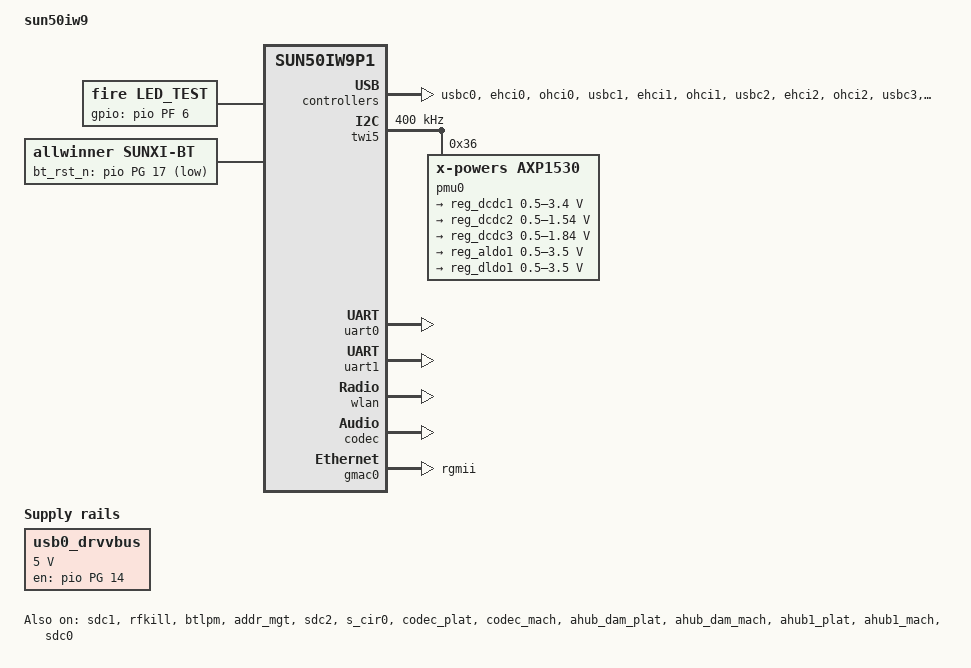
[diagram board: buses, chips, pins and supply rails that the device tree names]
// SPDX-License-Identifier: (GPL-2.0+ or MIT)
/*
 * Copyright (C) 2020 frank@allwinnertech.com
 */

/dts-v1/;
#include <dt-bindings/gpio/sun4i-gpio.h>

#include "sun50iw9.dtsi"
#include "sun50iw9-h618-pinctrl.dtsi"

/{
	model = "sun50iw9";
	compatible = "allwinner,h616", "arm,sun50iw9p1";

	aliases {
		disp = &uboot_disp;
		lcd0 = &lcd0;
		pmu0 = &pmu0;
		standby_param = &standby_param;
		hdmi = &uboot_hdmi;
		spi0 = &spi0;
		spi1 = &spi1;
		twi0 = &twi0;
		twi1 = &twi1;
		twi2 = &twi2;
		twi3 = &twi3;
		twi4 = &twi4;
		twi5 = &twi5;
	};

	usb0_drvvbus: usb0-drvvvbus {
		compatible = "regulator-fixed";
		regulator-name = "usb0-drvvbus";
		regulator-min-microvolt = <5000000>;
		regulator-max-microvolt = <5000000>;
		regulator-enable-ramp-delay = <1000>;
		gpio = <&pio PG 14 GPIO_ACTIVE_HIGH>;
		enable-active-high;
	};

	box_start_os0 {
		compatible = "allwinner,box_start_os";
		start_type = <0x1>;
		irkey_used = <0x0>;
		pmukey_used = <0x0>;
		pmukey_num = <0x0>;
		led_power = <0x0>;
		led_state = <0x0>;
		// pinctrl-0 = <&standby_blue>;
		// pinctrl-1 = <&standby_red>;
		/*pinctrl-2 = <&standby_bt>;*/
	};

	leds: leds {
		compatible = "gpio-leds";
		status = "disabled";

		led-sys {
			label = "led_sys";
			gpios =  <&pio PF 6 GPIO_ACTIVE_HIGH>;
			linux,default-trigger = "heartbeat";
		};
	};

	/*添加led_test节点*/
    led_test: led_test {
        status = "okay";
        compatible = "fire,led_test";
        default-state = "on";
        gpios = <&pio PF 6 GPIO_ACTIVE_HIGH>;
        pinctrl-names = "default";
        pinctrl-0 = <&led_test_pin>;
    };
};

&pio {
	led_test_pin: led_test_pin {
		pins = "PF6";
		function = "gpio_out";
	};
};

/*
 *usb_port_type: usb mode. 0-device, 1-host, 2-otg.
 *usb_detect_type: usb hotplug detect mode. 0-none, 1-vbus/id detect, 2-id/dpdm detect.
 *usb_detect_mode: 0-thread scan, 1-id gpio interrupt.
 *usb_id_gpio: gpio for id detect.
 *usb_det_vbus_gpio: gpio for id detect. gpio or "axp_ctrl";
 *usb_wakeup_suspend：0-SUPER_STANDBY, 1-USB_STANDBY.
 */
&usbc0 {
	device_type		= "usbc0";
	usb_port_type		= <0x2>;
	usb_detect_type		= <0x1>;
	usb_detect_mode		= <0x0>;
	usb_id_gpio = <&pio PC 2 GPIO_ACTIVE_HIGH>;
	usb_det_vbus_gpio = <&pio PC 2 GPIO_ACTIVE_HIGH>;
	usb_regulator_io	= "nocare";
	usb_wakeup_suspend	= <0x0>;
	usb_luns		= <0x3>;
	usb_serial_unique	= <0>;
	usb_serial_number	= "20080411";
	status			= "okay";
};

&ehci0 {
	drvvbus-supply		= <&usb0_drvvbus>;
	status			= "okay";
};

&ohci0 {
	drvvbus-supply		= <&usb0_drvvbus>;
	status			= "okay";
};

&usbc1 {
	device_type = "usbc1";
	usb_regulator_io = "nocare";
	usb_wakeup_suspend	= <0x0>;
	status = "okay";
};

&ehci1 {
	drvvbus-supply		= <&usb0_drvvbus>;
	status			= "okay";
};

&ohci1 {
	drvvbus-supply		= <&usb0_drvvbus>;
	status			= "okay";
};

&usbc2 {
	device_type = "usbc2";
	usb_regulator_io = "nocare";
	usb_wakeup_suspend = <0x0>;
	status = "okay";
};

&ehci2 {
	drvvbus-supply		= <&usb0_drvvbus>;
	status			= "okay";
};

&ohci2 {
	drvvbus-supply		= <&usb0_drvvbus>;
	status			= "okay";
};

&usbc3 {
	device_type = "usbc3";
	usb_regulator_io = "nocare";
	usb_wakeup_suspend = <0x0>;
	status = "okay";
};

&ehci3 {
	drvvbus-supply		= <&usb0_drvvbus>;
	status			= "okay";
};

&ohci3 {
	drvvbus-supply		= <&usb0_drvvbus>;
	status			= "okay";
};

&cpu0 {
	cpu-supply = <&reg_dcdc2>;
};

// CPU 掉电保护温度
&cpu_trips{
	cpu_crit: cpu_crit@0 {
		temperature = <115000>;
		type = "critical";
		hysteresis = <0>;
	};
};

/* for disp */
&soc {
	card0_boot_para@2 {
		/* Avoid dtc compiling warnings. */
		reg = <0x0 0x2 0x0 0x0>;
		device_type = "card0_boot_para";
		card_ctrl = <0x0>;
		card_high_speed = <0x1>;
		card_line = <0x4>;
		pinctrl-0 = <&sdc0_pins_a>;
		sdc_type = "tm1";
	};

	card2_boot_para@3 {
		/* Avoid dtc compiling warnings. */
		reg = <0x0 0x3 0x0 0x0>;
		device_type = "card2_boot_para";
		card_ctrl = <0x2>;
		card_high_speed = <0x1>;
		card_line = <0x8>;
		pinctrl-0 = <&sdc2_pins_a &sdc2_pins_c>;
		sdc_ex_dly_used = <0x2>;
		sdc_io_1v8 = <0x1>;
		sdc_type = "tm4";
	};

	clk_pll_video2: pll_video2 {
		#clock-cells = <0>;
		compatible = "allwinner,pll-clock";
		lock-mode = "new";
		assigned-clocks = <&clk_pll_video2>;
		/*assigned-clock-rates = <432000000>;*/
		clock-output-names = "pll_video2";
	};

	clk_pll_de: pll_de {
		#clock-cells = <0>;
		compatible = "allwinner,pll-clock";
		assigned-clocks = <&clk_pll_de>;
		assigned-clock-rates = <696000000>;
		lock-mode = "new";
		clock-output-names = "pll_de";
	};

	clk_de: de {
		#clock-cells = <0>;
		compatible = "allwinner,periph-clock";
		assigned-clock-parents = <&clk_pll_de>;
		assigned-clock-rates = <696000000>;
		assigned-clocks = <&clk_de>;
		clock-output-names = "de";
	};

	clk_display_top: display_top {
		#clock-cells = <0>;
		compatible = "allwinner,periph-clock";
		clock-output-names = "display_top";
	};

	clk_tcon_lcd: tcon_lcd {
		#clock-cells = <0>;
		compatible = "allwinner,periph-clock";
		clock-output-names = "tcon_lcd";
	};

	clk_tcon_lcd1: tcon_lcd1 {
		#clock-cells = <0>;
		compatible = "allwinner,periph-clock";
		clock-output-names = "tcon_lcd1";
	};
	clk_tcon_tv: tcon_tv {
		#clock-cells = <0>;
		compatible = "allwinner,periph-clock";
		assigned-clock-parents = <&clk_pll_video2>;
		assigned-clocks = <&clk_tcon_tv>;
		clock-output-names = "tcon_tv";
	};
	clk_tcon_tv1: tcon_tv1 {
		#clock-cells = <0>;
		compatible = "allwinner,periph-clock";
		clock-output-names = "tcon_tv1";
	};
	clk_lvds: lvds {
		#clock-cells = <0>;
		compatible = "allwinner,periph-clock";
		clock-output-names = "lvds";
		assigned-clocks = <&clk_lvds>;
	};
	clk_hdmi: hdmi {
		#clock-cells = <0>;
		compatible = "allwinner,periph-clock";
		assigned-clock-parents = <&clk_pll_video2>;
		assigned-clocks = <&clk_hdmi>;
		clock-output-names = "hdmi";
	};
	clk_hdmi_slow: hdmi_slow {
		#clock-cells = <0>;
		compatible = "allwinner,periph-clock";
		assigned-clocks = <&clk_hdmi_slow>;
		clock-output-names = "hdmi_slow";
	};
	clk_hdmi_cec: hdmi_cec {
		#clock-cells = <0>;
		compatible = "allwinner,periph-clock";
		assigned-clocks = <&clk_hdmi_cec>;
		clock-output-names = "hdmi_cec";
	};
	clk_hdmi_hdcp: hdmi_hdcp {
		#clock-cells = <0>;
		compatible = "allwinner,periph-clock";
		assigned-clock-parents = <&clk_pll_periph1>;
		assigned-clocks = <&clk_hdmi_hdcp>;
		clock-output-names = "hdmi_hdcp";
	};
	clk_pll_periph1: pll_periph1 {
		#clock-cells = <0>;
		compatible = "allwinner,pll-clock";
		assigned-clocks = <&clk_pll_periph1>;
		assigned-clock-rates = <600000000>;
		lock-mode = "new";
		clock-output-names = "pll_periph1";
	};

	auto_print@54321 {
		reg = <0x0 0x54321 0x0 0x0>;
		device_type = "auto_print";
		status = "disabled";
	};

	gpio_para {
		gpio_num = <0>;
		status = "okay";
	};
};

// PMIC TWI5
&twi5 {
	clock-frequency = <400000>;
	pinctrl-0 = <&s_twi0_pins_a>;
	pinctrl-1 = <&s_twi0_pins_b>;
	pinctrl-names = "default", "sleep";
	device_type = "twi5";
	no_suspend = <1>;
	twi_drv_used = <0>;
	status = "okay";

	pmu0: pmu{
		compatible = "x-powers,axp1530";
		reg = <0x36>;
		/* irq line nc */
		wakeup-source;

		standby_param: standby_param {
			vcc-dram = <0x4>;
		};

		regulators{
			reg_dcdc1: dcdc1 {
				regulator-name = "axp1530-dcdc1";
				regulator-min-microvolt = <500000>;
				regulator-max-microvolt = <3400000>;
				regulator-step-delay-us = <25>;
				regulator-final-delay-us = <50>;
				regulator-always-on;
			};

			reg_dcdc2: dcdc2 {
				regulator-name = "axp1530-dcdc2";
				regulator-min-microvolt = <500000>;
				regulator-max-microvolt = <1540000>;
				regulator-step-delay-us = <25>;
				regulator-final-delay-us = <50>;
				regulator-ramp-delay = <200>; /* FIXME */
				regulator-always-on;
			};

			reg_dcdc3: dcdc3 {
				regulator-name = "axp1530-dcdc3";
				regulator-min-microvolt = <500000>;
				regulator-max-microvolt = <1840000>;
				regulator-step-delay-us = <25>;
				regulator-final-delay-us = <50>;
				regulator-always-on;
			};

			reg_aldo1: ldo1 {
				regulator-name = "axp1530-aldo1";
				regulator-min-microvolt = <500000>;
				regulator-max-microvolt = <3500000>;
				regulator-step-delay-us = <25>;
				regulator-final-delay-us = <50>;
				regulator-always-on;
			};

			reg_dldo1: ldo2 {
				regulator-name = "axp1530-dldo1";
				regulator-min-microvolt = <500000>;
				regulator-max-microvolt = <3500000>;
				regulator-step-delay-us = <25>;
				regulator-final-delay-us = <50>;
				regulator-always-on;
			};
		};
	};
};

// DEBUG UART0
&uart0 {
	pinctrl-names = "default", "sleep";
	pinctrl-0 = <&uart0_ph_pins>;
	pinctrl-1 = <&uart0_ph_sleep>;
	status = "okay";
};

// WIFI
&sdc1 {
	max-frequency = <150000000>;
	pinctrl-0 = <&sdc1_pins_a>;
	bus-width = <4>;
	no-mmc;
	no-sd;
	cap-sd-highspeed;
	sd-uhs-sdr12;
	sd-uhs-sdr25;
	sd-uhs-sdr50;
	sd-uhs-ddr50;
	sd-uhs-sdr104;
	/*sunxi-power-save-mode;*/
	sunxi-dis-signal-vol-sw;
	cap-sdio-irq;
	keep-power-in-suspend;
	ignore-pm-notify;
	ctl-spec-caps = <0x8>;
	vmmc-supply = <&reg_dldo1>;
	vqmmc-supply = <&reg_aldo1>;
	status = "okay";
};

// BT UART1
&uart1 {
	pinctrl-names = "default", "sleep";
	pinctrl-0 = <&uart1_ph_pins>;
	pinctrl-1 = <&uart1_ph_sleep>;
	device_type = "uart1";
	status = "okay";
};

&rfkill {
	compatible = "allwinner,sunxi-rfkill";
	chip_en;
	power_en;
	pinctrl-0;
	pinctrl-names;
	clocks;
	status = "okay";

	wlan: wlan {
		compatible = "allwinner,sunxi-wlan";
		wlan_busnum = <0x1>;
		wlan_power;
		wlan_regon = <&pio PG 18 GPIO_ACTIVE_HIGH>;
		wlan_hostwake = <&pio PG 11 GPIO_ACTIVE_HIGH>;
		wakeup-source;
	};

	bt: bt {
		compatible = "allwinner,sunxi-bt";
		bt_power;
		bt_rst_n = <&pio PG 17 GPIO_ACTIVE_LOW>;
	};
};

&btlpm {
	compatible = "allwinner,sunxi-btlpm";
	uart_index = <0x1>;
	bt_wake = <&pio PG 12 GPIO_ACTIVE_HIGH>;
	bt_hostwake = <&pio PG 13 GPIO_ACTIVE_HIGH>;
	status = "okay";
	wakeup-source;
};

&addr_mgt {
	compatible = "allwinner,sunxi-addr_mgt";
	type_addr_wifi = <0x0>;
	type_addr_bt = <0x0>;
	type_addr_eth = <0x0>;
	status = "okay";
};

// HDMI OUTPUT
&hdmi {
	hdmi_used = <1>;
	aldo1-supply = <&reg_aldo1>;
	dcdc1-supply = <&reg_dcdc1>;
	hdmi_power_cnt = <2>;
	hdmi_power0 = "axp1530-aldo1";
	hdmi_power1 = "axp1530-dcdc1";
	hdmi_hdcp_enable = <1>;
	hdmi_hdcp22_enable = <1>;
	hdmi_cts_compatibility = <0>;
	hdmi_cec_support = <1>;
	hdmi_cec_super_standby = <0>;

	ddc_en_io_ctrl = <0>;
	power_io_ctrl = <0>;
};

// Display Engine
&disp {
	disp_init_enable         = <1>;
	disp_mode                = <0>;

	screen0_output_type      = <3>;
	screen0_output_mode      = <10>;
	screen0_output_format    = <0>;
	screen0_output_bits      = <0>;
	screen0_output_eotf      = <4>;
	screen0_output_cs        = <257>;
	screen0_output_dvi_hdmi  = <2>;
	screen0_output_range     = <2>;
	screen0_output_scan      = <0>;
	screen0_output_aspect_ratio = <8>;

	screen1_output_type      = <2>;
	screen1_output_mode      = <11>;
	screen1_output_format    = <1>;
	screen1_output_bits      = <0>;
	screen1_output_eotf      = <4>;
	screen1_output_cs        = <260>;
	screen1_output_dvi_hdmi  = <0>;
	screen1_output_range     = <2>;
	screen1_output_scan      = <0>;
	screen1_output_aspect_ratio = <8>;
	dev0_output_type         = <4>;
	dev0_output_mode         = <10>;
	dev0_screen_id           = <0>;
	dev0_do_hpd              = <1>;

	dev1_output_type         = <2>;
	dev1_output_mode         = <11>;
	dev1_screen_id           = <1>;
	dev1_do_hpd              = <1>;

	dev2_output_type         = <0>;
	def_output_dev           = <0>;
	hdmi_mode_check          = <1>;

	fb0_format               = <0>;
	fb0_width                = <1280>;
	fb0_height               = <720>;

	fb1_format               = <0>;
	fb1_width                = <0>;
	fb1_height               = <0>;

	chn_cfg_mode             = <1>;

	disp_para_zone           = <1>;
};

&gpu {
	gpu_idle = <1>;
	dvfs_status = <1>;
	operating-points = <
		600000 950000
		576000 950000
		540000 950000
		504000 950000
		456000 950000
		420000 950000
		384000 950000
		360000 950000
		336000 950000
		306000 950000
	>;
};

// eMMC
&sdc2 {
	max-frequency = <100000000>;
	mmc-ddr-1_8v;
	mmc-hs200-1_8v;
	mmc-hs400-1_8v;
	sunxi-dis-signal-vol-sw;
	vmmc-supply = <&reg_dldo1>;
	vqmmc-supply = <&reg_aldo1>;
	status = "okay";
};

// FAN
&pwm1 {
	pinctrl-names = "active", "sleep";
	pinctrl-0 = <&pwm1_pin_a>;
	pinctrl-1 = <&pwm1_pin_b>;
	status = "disabled";
};

// IR
&s_cir0 {
	s_cir0_used = <1>;
	pinctrl-names = "default", "sleep";
	pinctrl-0 = <&s_cir0_pins_a>;
	pinctrl-1 = <&s_cir0_pins_b>;
	ir_power_key_code0 = <0x40>;
	ir_addr_code0 = <0xfe01>;
	ir_power_key_code1 = <0x1a>;
	ir_addr_code1 = <0xfb04>;
	ir_power_key_code2 = <0xf2>;
	ir_addr_code2 = <0x2992>;
	ir_power_key_code3 = <0x57>;
	ir_addr_code3 = <0x9f00>;
	ir_power_key_code4 = <0xdc>;
	ir_addr_code4 = <0x4cb3>;
	ir_power_key_code5 = <0x18>;
	ir_addr_code5 = <0xff00>;
	ir_power_key_code6 = <0xdc>;
	ir_addr_code6 = <0xdd22>;
	ir_power_key_code7 = <0x0d>;
	ir_addr_code7 = <0xbc00>;
	ir_power_key_code8 = <0x4d>;
	ir_addr_code8 = <0x4040>;
	wakeup-source;
	status = "okay";
};

/* audio dirver module -> audio codec */
&codec {
	lineout_vol	= <26>;
	tx_hub_en;
	status		= "okay";
};

&codec_plat {
	status		= "okay";
};

&codec_mach {
	status		= "okay";
};

/* audio dirver module -> audio hub */
&ahub_dam_plat {
	status		= "okay";
};

&ahub_dam_mach {
	status		= "okay";
};

&ahub1_plat {
	tdm_num		= <1>;
	tx_pin		= <0>;
	rx_pin		= <0>;
	dai_type	= "hdmi";
	status		= "okay";
};

&ahub1_mach {
	status		= "okay";
	soundcard-mach,format		= "i2s";
	soundcard-mach,frame-master	= <&ahub1_cpu>;
	soundcard-mach,bitclock-master	= <&ahub1_cpu>;
	/* soundcard-mach,frame-inversion; */
	/* soundcard-mach,bitclock-inversion; */
	soundcard-mach,slot-num		= <2>;
	soundcard-mach,slot-width	= <32>;
	ahub1_cpu: soundcard-mach,cpu {
		sound-dai = <&ahub1_plat>;
		soundcard-mach,pll-fs	= <4>;	/* pll freq = 24.576M or 22.5792M * pll-fs */
		soundcard-mach,mclk-fs	= <0>;	/* mclk freq = pcm rate * mclk-fs */
	};
	ahub1_codec: soundcard-mach,codec {
	};
};

// SD Card
&sdc0 {
	max-frequency = <150000000>;
	sd-uhs-sdr50;
	sd-uhs-ddr50;
	sd-uhs-sdr104;
	vmmc-supply = <&reg_dldo1>;
	vqmmc33sw-supply = <&reg_dldo1>;
	vdmmc33sw-supply = <&reg_dldo1>;
	vqmmc18sw-supply = <&reg_aldo1>;
	vdmmc18sw-supply = <&reg_aldo1>;
	cd-gpios = <&pio PH 4 (GPIO_ACTIVE_LOW | GPIO_PULL_UP)>;
	status = "okay";
};

// Ethernet 1000M
&gmac0 {
	phy-mode = "rgmii";
	use_ephy25m = <0>;
	pinctrl-0 = <&gmac0_pins_a>;
	pinctrl-1 = <&gmac0_pins_b>;
	pinctrl-names = "default", "sleep";
	// 20231020
	tx-delay = <3>; // value = 0 ~ 7
	rx-delay = <9>; // value = 0 ~ 31
	status = "okay";

	// 20230904
	// tx-delay = <6>;
	// rx-delay = <11>;
};

// 26PIN 3,5 TWI4/UART2
&twi4 {
	clock-frequency = <400000>;
	pinctrl-0 = <&twi4_pins_a>;
	pinctrl-1 = <&twi4_pins_b>;
	pinctrl-names = "default", "sleep";
	twi_drv_used = <0>;
	status = "disabled";
};

&uart2 {
	pinctrl-names = "default", "sleep";
	pinctrl-0 = <&uart2_ph_pins>;
	pinctrl-1 = <&uart2_ph_sleep>;
	status = "disabled";
};

// 26PIN 6,8 UART5/TWI2
&uart5 {
	pinctrl-names = "default", "sleep";
	pinctrl-0 = <&uart5_ph_pins>;
	pinctrl-1 = <&uart5_ph_sleep>;
	status = "disabled";
};

&twi2 {
	clock-frequency = <400000>;
	pinctrl-0 = <&twi2_pins_a>;
	pinctrl-1 = <&twi2_pins_b>;
	pinctrl-names = "default", "sleep";
	twi_drv_used = <0>;
	status = "disabled";
};

// 26PIN 19,21,23,24,26 SPI1
&spi1 {
	spi_slave_mode = <0>;
	pinctrl-names = "default", "sleep";
	pinctrl-0 = <&spi1_pins_a &spi1_pins_b>;
	pinctrl-1 = <&spi1_pins_c>;
	spi1_cs_number = <2>; //控制器cs脚数量
	spi1_cs_bitmap = <3>; // cs0‑ 0x1; cs1‑0x2, cs0&cs1‑0x3.
	status = "disabled";

	// /dev/spidev1.0
	spi_board1@0 {
		device_type = "spi_board1";
		compatible = "rohm,dh2228fv";
		spi-max-frequency = <100000000>;
		reg = <0x0>;
		spi-rx-bus-width = <0x1>;
		spi-tx-bus-width = <0x1>;
	};

	// /dev/spidev1.1
	spi_board1@1 {
		device_type = "spi_board1";
		compatible = "rohm,dh2228fv";
		spi-max-frequency = <100000000>;
		reg = <0x1>;
		spi-rx-bus-width = <0x1>;
		spi-tx-bus-width = <0x1>;
	};
};
